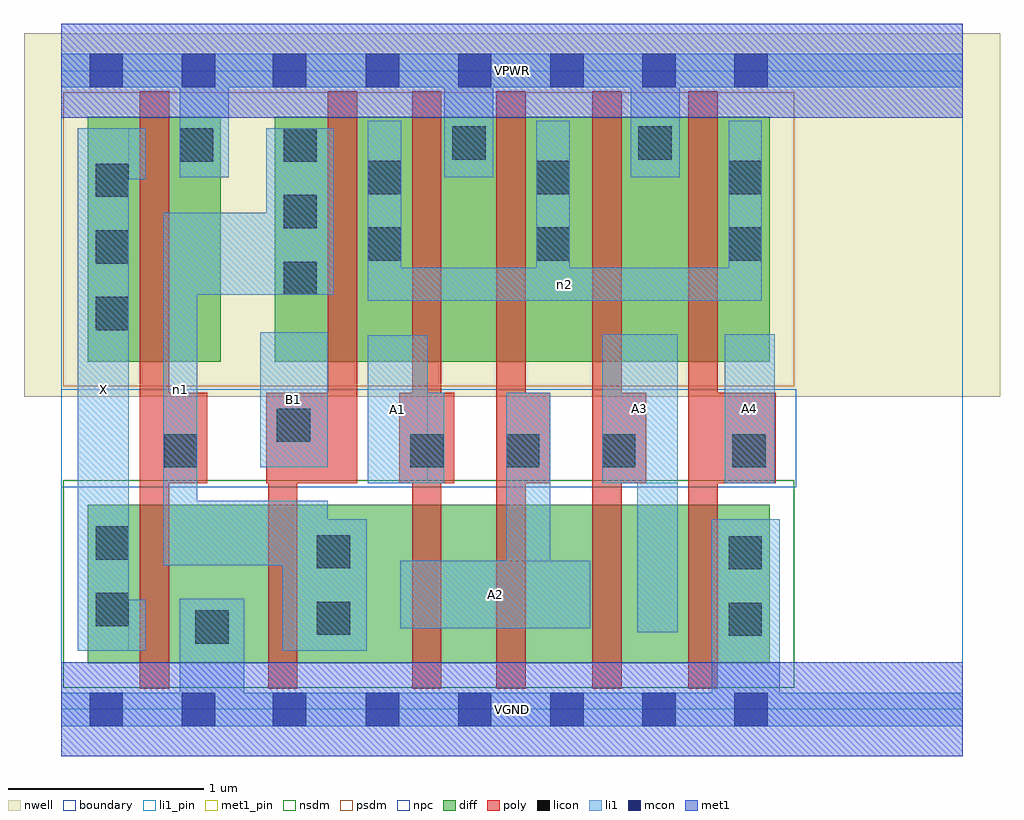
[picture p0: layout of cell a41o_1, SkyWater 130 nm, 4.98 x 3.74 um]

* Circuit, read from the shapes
.subckt a41o_1 A1 A2 A3 A4 B1 VGND VPWR X n1 n2
XM1 VGND n1 X VSUBS sky130_fd_pr__nfet_01v8 w=0.81 l=0.15
XM2 n1 B1 VGND VSUBS sky130_fd_pr__nfet_01v8 w=0.81 l=0.15
XM3 n3 A1 n1 VSUBS sky130_fd_pr__nfet_01v8 w=0.81 l=0.15
XM4 n4 A2 n3 VSUBS sky130_fd_pr__nfet_01v8 w=0.81 l=0.15
XM5 n5 A3 n4 VSUBS sky130_fd_pr__nfet_01v8 w=0.81 l=0.15
XM6 VGND A4 n5 VSUBS sky130_fd_pr__nfet_01v8 w=0.81 l=0.15
XM7 VPWR n1 X n6 sky130_fd_pr__pfet_01v8 w=1.25 l=0.15
XM8 n2 B1 n1 n6 sky130_fd_pr__pfet_01v8 w=1.25 l=0.15
XM9 VPWR A1 n2 n6 sky130_fd_pr__pfet_01v8 w=1.25 l=0.15
XM10 n2 A2 VPWR n6 sky130_fd_pr__pfet_01v8 w=1.25 l=0.15
XM11 VPWR A3 n2 n6 sky130_fd_pr__pfet_01v8 w=1.25 l=0.15
XM12 n2 A4 VPWR n6 sky130_fd_pr__pfet_01v8 w=1.25 l=0.15
.ends

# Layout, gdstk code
import gdstk
lib = gdstk.Library(unit=1e-6, precision=1e-09)
def R(c, l, rs):  # rectangles x0, y0, x1, y1
    for r in rs: c.add(gdstk.rectangle(r[:2], r[2:], *l))
def A(c, l, x, y, w, h, nx, ny, dx, dy):  # array of equal rectangles
    R(c, l, [(x+i*dx, y+j*dy, x+i*dx+w, y+j*dy+h) for i in range(nx) for j in range(ny)])
nwell = (64, 20)
diff = (65, 20)
poly = (66, 20)
licon = (66, 44)
li1_pin = (67, 16)
li1 = (67, 20)
mcon = (67, 44)
met1_pin = (68, 16)
met1 = (68, 20)
nsdm = (93, 44)
psdm = (94, 20)
npc = (95, 20)
boundary = (235, 4)

a41o_1 = lib.new_cell('a41o_1')
R(a41o_1, nwell, [(-0.19,1.595,4.79,3.45), (0,1.595,4.6,3.45)])
R(a41o_1, diff, [(0.135,0.235,3.615,1.045), (0.135,1.775,0.815,3.025), (1.09,1.775,3.615,3.025)])
A(a41o_1, poly, 2.22, 0.105, 0.15, 3.05, 3, 1, 0.49, 0)
R(a41o_1, poly, [(0.4,0.105,0.55,3.155), (1.055,0.105,1.205,1.615), (1.79,0.105,1.94,3.155), (0.4,1.155,0.745,1.615), (1.045,1.155,1.51,1.615), (1.36,1.155,1.51,3.155), (1.725,1.155,2.005,1.615), (2.22,1.155,2.495,1.615), (2.71,1.155,2.985,1.615), (3.2,1.155,3.645,1.615)])
A(a41o_1, licon, 1.78, 1.235, 0.17, 0.17, 3, 1, 0.49, 0)
A(a41o_1, licon, 0.175, 1.935, 0.17, 0.17, 1, 3, 0, 0.34)
A(a41o_1, licon, 1.135, 2.115, 0.17, 0.17, 1, 3, 0, 0.34)
R(a41o_1, licon, [(0.685,0.335,0.855,0.505), (3.405,0.375,3.575,0.545), (1.305,0.38,1.475,0.55), (0.175,0.425,0.345,0.595), (3.405,0.715,3.575,0.885), (1.305,0.72,1.475,0.89), (0.175,0.765,0.345,0.935), (0.525,1.235,0.695,1.405), (3.425,1.235,3.595,1.405), (1.1,1.365,1.27,1.535), (1.565,2.29,1.735,2.46), (2.425,2.29,2.595,2.46), (3.405,2.29,3.575,2.46), (1.565,2.63,1.735,2.8), (2.425,2.63,2.595,2.8), (3.405,2.63,3.575,2.8), (0.605,2.795,0.775,2.965), (1.995,2.805,2.165,2.975), (2.945,2.805,3.115,2.975)])
R(a41o_1, li1_pin, [(0.085,0.3,0.345,2.965), (1.73,0.415,2.7,0.76), (1.565,1.155,1.87,1.91), (2.76,1.155,3.145,1.915), (3.385,1.155,3.64,1.915), (1.015,1.235,1.36,1.925)])
R(a41o_1, li1, [(0,-0.085,4.6,0.085), (0.605,-0.085,0.935,0.565), (3.32,-0.085,3.665,0.97), (0.085,0.3,0.345,2.965), (0.085,0.3,0.43,0.56), (1.13,0.3,1.56,0.97), (2.94,0.395,3.145,1.915), (1.73,0.415,2.7,0.76), (2.27,0.415,2.495,1.615), (0.52,0.735,0.695,2.535), (0.52,0.735,1.36,1.065), (1.565,1.155,1.87,1.91), (1.565,1.155,1.955,1.615), (2.76,1.155,3.145,1.915), (3.385,1.155,3.64,1.915), (1.015,1.235,1.36,1.925), (1.565,2.085,3.575,2.255), (1.565,2.085,1.735,3.005), (2.425,2.085,2.595,3.005), (3.405,2.085,3.575,3.005), (0.52,2.115,1.39,2.535), (1.045,2.115,1.39,2.965), (0.085,2.705,0.43,2.965), (0.605,2.715,0.855,3.345), (1.955,2.715,2.205,3.345), (2.905,2.715,3.155,3.345), (0,3.175,4.6,3.345)])
A(a41o_1, mcon, 1.555, -0.085, 0.17, 0.17, 5, 2, 0.47, 3.26)
R(a41o_1, mcon, [(0.145,-0.085,0.315,0.085), (0.615,-0.085,0.785,0.085), (1.08,-0.085,1.25,0.085), (0.145,3.175,0.315,3.345), (0.615,3.175,0.785,3.345), (1.08,3.175,1.25,3.345)])
R(a41o_1, met1_pin, [(0,-0.24,4.6,0.24), (0,3.02,4.6,3.5)])
R(a41o_1, met1, [(0,-0.24,4.6,0.24), (0,3.02,4.6,3.5)])
R(a41o_1, nsdm, [(0.01,0.11,3.74,1.17)])
R(a41o_1, psdm, [(0.01,1.65,3.74,3.15)])
R(a41o_1, npc, [(0,1.135,3.75,1.635)])
R(a41o_1, boundary, [(0,0,4.6,3.26)])
a41o_1.add(gdstk.Label('A1', (1.717,1.532), layer=67, texttype=5))
a41o_1.add(gdstk.Label('A2', (2.215,0.587), layer=67, texttype=5))
a41o_1.add(gdstk.Label('A3', (2.952,1.535), layer=67, texttype=5))
a41o_1.add(gdstk.Label('A4', (3.512,1.535), layer=67, texttype=5))
a41o_1.add(gdstk.Label('B1', (1.187,1.58), layer=67, texttype=5))
a41o_1.add(gdstk.Label('X', (0.215,1.632), layer=67, texttype=5))
a41o_1.add(gdstk.Label('n1', (0.607,1.635), layer=67, texttype=5))
a41o_1.add(gdstk.Label('n2', (2.57,2.17), layer=67, texttype=5))
a41o_1.add(gdstk.Label('VPWR', (2.3,3.26), layer=68, texttype=5))
a41o_1.add(gdstk.Label('VGND', (2.3,0), layer=68, texttype=5))
a41o_1.add(gdstk.Label('A1', (1.717,1.532), layer=67, texttype=16))
a41o_1.add(gdstk.Label('A2', (2.215,0.587), layer=67, texttype=16))
a41o_1.add(gdstk.Label('A3', (2.952,1.535), layer=67, texttype=16))
a41o_1.add(gdstk.Label('A4', (3.512,1.535), layer=67, texttype=16))
a41o_1.add(gdstk.Label('B1', (1.187,1.58), layer=67, texttype=16))
a41o_1.add(gdstk.Label('X', (0.215,1.632), layer=67, texttype=16))
a41o_1.add(gdstk.Label('VPWR', (2.3,3.26), layer=68, texttype=16))
a41o_1.add(gdstk.Label('VGND', (2.3,0), layer=68, texttype=16))

lib.write_gds('a41o_1.gds')
